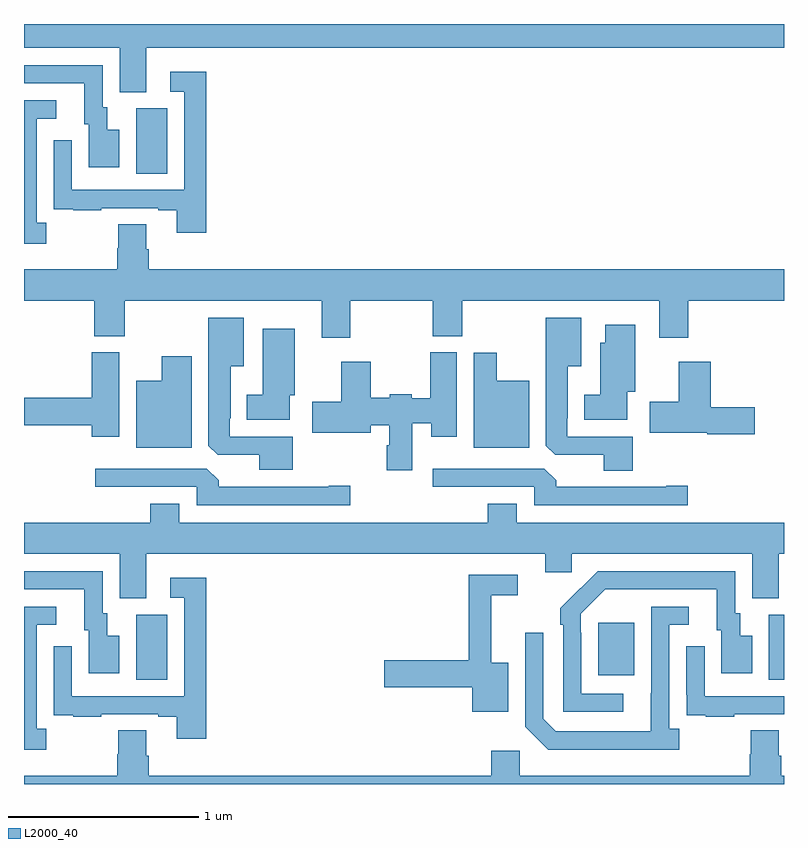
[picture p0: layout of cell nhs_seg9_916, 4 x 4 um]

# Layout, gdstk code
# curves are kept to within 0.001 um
import gdstk
lib = gdstk.Library(unit=1e-6, precision=1e-09)
def R(c, l, rs):  # rectangles x0, y0, x1, y1
    for r in rs: c.add(gdstk.rectangle(r[:2], r[2:], *l))
def P(c, l, *ps):  # polygons
    for p in ps: c.add(gdstk.Polygon(p, *l))
L2000_40 = (2000, 40)

nhs_seg9_916 = lib.new_cell('nhs_seg9_916')
R(nhs_seg9_916, L2000_40, [(159.59,1237.048,159.754,1237.392), (162.92,1237.048,163,1237.392), (162.023,1237.073,162.211,1237.348), (159.59,1239.712,159.754,1240.056)])
P(nhs_seg9_916, L2000_40, [(159.643,1240.376),(163,1240.376),(163,1240.5),(159,1240.5),(159,1240.376),(159.503,1240.376),(159.503,1240.141),(159.643,1240.141)],
  [(159.502,1239.943),(159.439,1239.943),(159.439,1240.062),(159.414,1240.062),(159.414,1240.284),(159,1240.284),(159,1240.188),(159.317,1240.188),(159.317,1239.972),(159.341,1239.972),(159.341,1239.747),(159.502,1239.747)],
  [(159.959,1240.249),(159.771,1240.249),(159.771,1240.143),(159.843,1240.143),(159.843,1239.627),(159.252,1239.627),(159.252,1239.889),(159.156,1239.889),(159.156,1239.634),(159.157,1239.634),(159.157,1239.525),(159.259,1239.525),(159.259,1239.519),(159.407,1239.519),(159.407,1239.531),(159.707,1239.531),(159.707,1239.519),(159.803,1239.519),(159.803,1239.402),(159.959,1239.402)],
  [(159.118,1239.454),(159.066,1239.454),(159.066,1240.002),(159.169,1240.002),(159.169,1240.098),(159,1240.098),(159,1239.344),(159.118,1239.344)],
  [(160.716,1239.044),(161.152,1239.044),(161.152,1238.857),(161.307,1238.857),(161.307,1239.044),(162.344,1239.044),(162.344,1238.85),(162.497,1238.85),(162.497,1239.044),(163,1239.044),(163,1239.208),(159.656,1239.208),(159.656,1239.314),(159.643,1239.314),(159.643,1239.446),(159.496,1239.446),(159.496,1239.321),(159.491,1239.321),(159.491,1239.208),(159,1239.208),(159,1239.044),(159.371,1239.044),(159.371,1238.857),(159.531,1238.857),(159.531,1239.044),(160.568,1239.044),(160.568,1238.85),(160.716,1238.85)],
  [(162.203,1238.328),(161.859,1238.328),(161.859,1238.425),(161.863,1238.425),(161.863,1238.699),(161.932,1238.699),(161.932,1238.953),(161.747,1238.953),(161.747,1238.281),(161.796,1238.232),(162.05,1238.232),(162.05,1238.149),(162.203,1238.149)],
  [(160.414,1238.328),(160.083,1238.328),(160.083,1238.425),(160.087,1238.425),(160.087,1238.699),(160.156,1238.699),(160.156,1238.953),(159.971,1238.953),(159.971,1238.281),(160.02,1238.232),(160.238,1238.232),(160.238,1238.153),(160.414,1238.153)],
  [(162.175,1238.564),(162.217,1238.564),(162.217,1238.917),(162.059,1238.917),(162.059,1238.823),(162.032,1238.823),(162.032,1238.548),(161.948,1238.548),(161.948,1238.417),(162.175,1238.417)],
  [(160.399,1238.547),(160.426,1238.547),(160.426,1238.896),(160.256,1238.896),(160.256,1238.548),(160.172,1238.548),(160.172,1238.417),(160.399,1238.417)],
  [(161.044,1238.399),(161.144,1238.399),(161.144,1238.328),(161.278,1238.328),(161.278,1238.772),(161.137,1238.772),(161.137,1238.529),(161.04,1238.529),(161.04,1238.552),(160.926,1238.552),(160.926,1238.534),(160.825,1238.534),(160.825,1238.722),(160.67,1238.722),(160.67,1238.511),(160.518,1238.511),(160.518,1238.348),(160.825,1238.348),(160.825,1238.387),(160.922,1238.387),(160.922,1238.283),(160.91,1238.283),(160.91,1238.151),(161.044,1238.151)],
  [(159.502,1238.772),(159.356,1238.772),(159.356,1238.534),(159,1238.534),(159,1238.387),(159.356,1238.387),(159.356,1238.328),(159.502,1238.328)],
  [(161.659,1238.623),(161.488,1238.623),(161.488,1238.77),(161.366,1238.77),(161.366,1238.27),(161.659,1238.27)],
  [(159.883,1238.752),(159.725,1238.752),(159.725,1238.623),(159.59,1238.623),(159.59,1238.27),(159.883,1238.27)],
  [(162.847,1238.483),(162.614,1238.483),(162.614,1238.722),(162.446,1238.722),(162.446,1238.511),(162.294,1238.511),(162.294,1238.348),(162.597,1238.348),(162.597,1238.341),(162.847,1238.341)],
  [(162.493,1238.069),(162.38,1238.069),(162.38,1238.064),(161.801,1238.064),(161.801,1238.098),(161.739,1238.16),(161.151,1238.16),(161.151,1238.064),(161.685,1238.064),(161.685,1237.968),(162.493,1237.968)],
  [(160.717,1238.069),(160.604,1238.069),(160.604,1238.064),(160.025,1238.064),(160.025,1238.098),(159.963,1238.16),(159.375,1238.16),(159.375,1238.064),(159.909,1238.064),(159.909,1237.968),(160.717,1237.968)],
  [(159.643,1237.712),(161.744,1237.712),(161.744,1237.614),(161.883,1237.614),(161.883,1237.712),(162.833,1237.712),(162.833,1237.477),(162.973,1237.477),(162.973,1237.712),(163,1237.712),(163,1237.876),(161.593,1237.876),(161.593,1237.975),(161.441,1237.975),(161.441,1237.876),(159.817,1237.876),(159.817,1237.975),(159.665,1237.975),(159.665,1237.876),(159,1237.876),(159,1237.712),(159.503,1237.712),(159.503,1237.477),(159.643,1237.477)],
  [(159.502,1237.279),(159.439,1237.279),(159.439,1237.398),(159.414,1237.398),(159.414,1237.62),(159,1237.62),(159,1237.524),(159.317,1237.524),(159.317,1237.308),(159.341,1237.308),(159.341,1237.083),(159.502,1237.083)],
  [(162.154,1236.975),(161.934,1236.975),(161.934,1237.295),(161.931,1237.295),(161.931,1237.395),(162.06,1237.524),(162.647,1237.524),(162.647,1237.308),(162.671,1237.308),(162.671,1237.083),(162.832,1237.083),(162.832,1237.279),(162.769,1237.279),(162.769,1237.398),(162.744,1237.398),(162.744,1237.62),(162.02,1237.62),(161.823,1237.425),(161.823,1237.337),(161.838,1237.337),(161.838,1236.879),(162.154,1236.879)],
  [(161.548,1237.138),(161.459,1237.138),(161.459,1237.494),(161.599,1237.494),(161.599,1237.602),(161.341,1237.602),(161.341,1237.151),(160.896,1237.151),(160.896,1237.009),(161.36,1237.009),(161.36,1236.881),(161.548,1236.881)],
  [(159.959,1237.585),(159.771,1237.585),(159.771,1237.479),(159.843,1237.479),(159.843,1236.963),(159.252,1236.963),(159.252,1237.225),(159.156,1237.225),(159.156,1236.97),(159.157,1236.97),(159.157,1236.861),(159.259,1236.861),(159.259,1236.855),(159.407,1236.855),(159.407,1236.867),(159.707,1236.867),(159.707,1236.855),(159.803,1236.855),(159.803,1236.738),(159.959,1236.738)],
  [(159.118,1236.79),(159.066,1236.79),(159.066,1237.338),(159.169,1237.338),(159.169,1237.434),(159,1237.434),(159,1236.68),(159.118,1236.68)],
  [(162.448,1236.79),(162.396,1236.79),(162.396,1237.338),(162.499,1237.338),(162.499,1237.434),(162.3,1237.434),(162.299,1236.777),(161.799,1236.777),(161.733,1236.843),(161.733,1237.297),(161.637,1237.297),(161.637,1236.801),(161.758,1236.68),(162.448,1236.68)],
  [(162.737,1236.867),(163,1236.867),(163,1236.963),(162.582,1236.963),(162.582,1237.225),(162.486,1237.225),(162.486,1236.97),(162.487,1236.97),(162.487,1236.861),(162.589,1236.861),(162.589,1236.855),(162.737,1236.855)],
  [(163,1236.544),(162.986,1236.544),(162.986,1236.65),(162.973,1236.65),(162.973,1236.782),(162.826,1236.782),(162.826,1236.657),(162.821,1236.657),(162.821,1236.544),(161.61,1236.544),(161.61,1236.676),(161.459,1236.676),(161.459,1236.544),(159.656,1236.544),(159.656,1236.65),(159.643,1236.65),(159.643,1236.782),(159.496,1236.782),(159.496,1236.657),(159.491,1236.657),(159.491,1236.544),(159,1236.544),(159,1236.5),(163,1236.5)])

lib.write_gds('nhs_seg9_916.gds')
